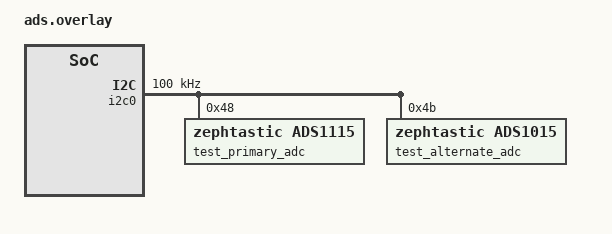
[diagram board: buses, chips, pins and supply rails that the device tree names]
/* Build-only fixture. These devices are external accessories. */
/ {
    aliases {
        zt-ads1x15 = &test_primary_adc;
        zt-ads1x15-alt = &test_alternate_adc;
    };
};
&i2c0 {
    status = "okay";
    clock-frequency = <100000>;
    test_primary_adc: adc@48 { compatible = "zephtastic,ads1115"; reg = <0x48>; };
    test_alternate_adc: adc@4b { compatible = "zephtastic,ads1015"; reg = <0x4b>; };
};
